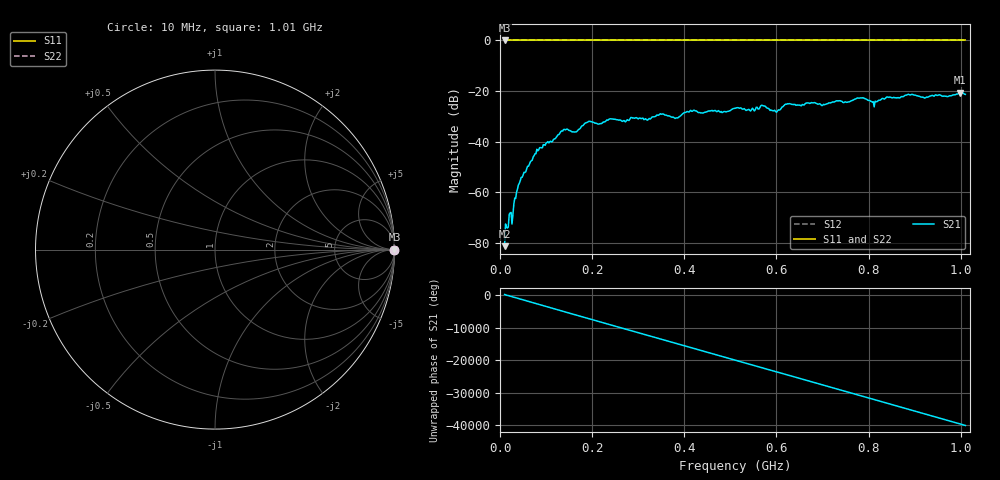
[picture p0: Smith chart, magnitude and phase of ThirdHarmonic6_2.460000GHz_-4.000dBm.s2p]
! 8/17/2025 4:27:09 AM
! C:\ANRITSUVNA\TEMP\TEMP.S2P
! CHANNEL.1
! TR.MEASUREMENT
! RAW.DATA
! RF.CORRECTION.OFF
! AVERAGING.OFF
! IF.BANDWIDTH: 5KHZ
! SWEEPTYPE:  FREQ.SWEEP(Linear)
! Reference Plane Port Info
! PORT:  PORT1  PORT2
! DISTANCE:  0  m  0  m
! TIME:  0  s  0  s
! PHASE.OFFSET:  0  deg.  0  deg.
! LOSS:  0  dB  0  dB
! REF.LOSS:  0  dB  0  dB
! REF.FREQ:  0  Hz  0  Hz
! Power Info
! POWER:  -20  dBm  -20  dBm
! EFF.POWER:  -20  dBm  -20  dBm
! SOURCE.ATTEN:  0  dB  0  dB
! TEST.ATTEN:  0  dB  0  dB
# GHZ S RI R 50.0
! FREQ.GHZ  S11RE  S11IM  S21RE  S21IM  S12RE  S12IM  S22RE  S22IM
!; PortSelection: Port_12
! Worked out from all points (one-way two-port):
!   501 points, 10 MHz to 1.01 GHz, reference 50 ohm
!   highest |S21| = -20.62 dB at 998 MHz (marker M1); lowest = -81.2 dB at 10 MHz (marker M2)
!   lowest |S11| = 0.0 dB at 10 MHz (marker M3)
!   |S11| at or under -10 dB: nowhere
!   |S22| runs from 0.0 to 0.0 dB; largest |S21 - S12| = 1.1
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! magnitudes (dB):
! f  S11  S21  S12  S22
! 10 MHz  0.0  -81.2  0.0  0.0
! 16 MHz  0.0  -74.0  0.0  0.0
! 30 MHz  0.0  -64.7  0.0  0.0
! 42 MHz  0.0  -56.4  0.0  0.0
! 76 MHz  0.0  -44.7  0.0  0.0
! 136 MHz  0.0  -35.8  0.0  0.0
! 162 MHz  0.0  -36.1  0.0  0.0
! 178 MHz  0.0  -33.7  0.0  0.0
! 194 MHz  0.0  -31.9  0.0  0.0
! 344 MHz  0.0  -29.5  0.0  0.0
! 382 MHz  0.0  -30.6  0.0  0.0
! 416 MHz  0.0  -27.9  0.0  0.0
! 510 MHz  0.0  -26.8  0.0  0.0
! 570 MHz  0.0  -25.7  0.0  0.0
! 598 MHz  0.0  -28.0  0.0  0.0
! 624 MHz  0.0  -25.0  0.0  0.0
! 678 MHz  0.0  -24.6  0.0  0.0
! 784 MHz  0.0  -22.7  0.0  0.0
! 814 MHz  0.0  -24.0  0.0  0.0
! 844 MHz  0.0  -22.5  0.0  0.0
! 998 MHz  0.0  -20.6  0.0  0.0
! 1.01 GHz  0.0  -21.3  0.0  0.0
